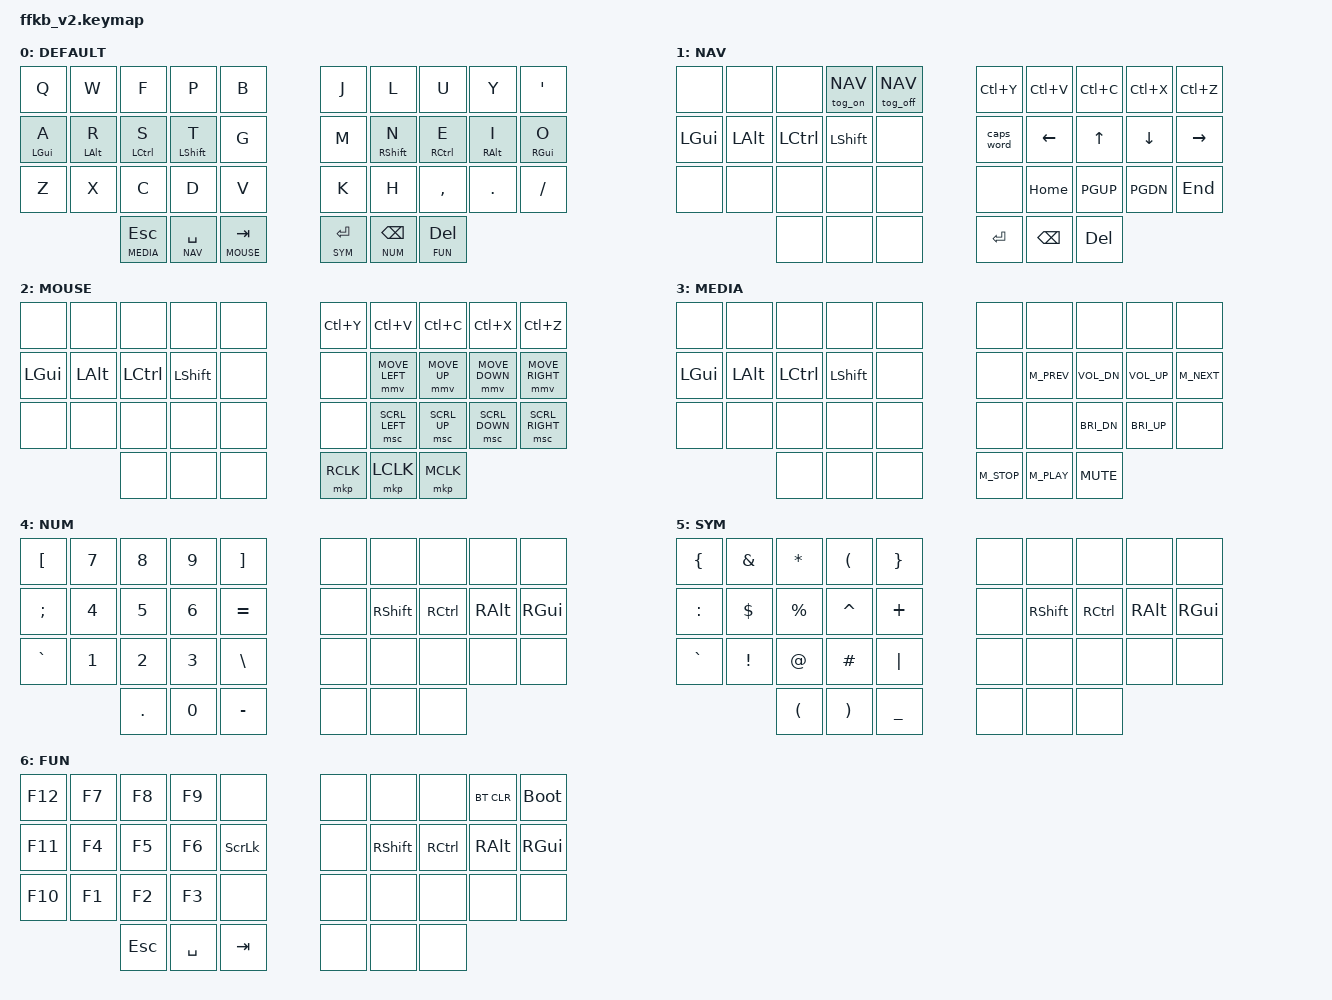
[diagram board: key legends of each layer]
/*
 * Copyright (c) 2020 The ZMK Contributors
 *
 * SPDX-License-Identifier: MIT
 */
/* This matrix overrides the base case of 3x6+3 to 3x5 + 3*/ 

  &default_transform {
      map = <
           RC(0,1) RC(0,2) RC(0,3) RC(0,4) RC(0,5)         RC(0,6) RC(0,7) RC(4,3) RC(3,4) RC(4,5)
           RC(1,1) RC(1,2) RC(1,3) RC(1,4) RC(1,5)         RC(1,6) RC(1,7) RC(3,2) RC(4,4) RC(3,5)
           RC(2,1) RC(2,2) RC(2,3) RC(2,4) RC(2,5)         RC(2,6) RC(2,7) RC(4,2) RC(3,3) RC(3,6)
                           RC(5,3) RC(5,4) RC(5,5)         RC(5,6) RC(5,7) RC(5,2)
      >;
  };


#define ZMK_POINTING_DEFAULT_MOVE_VAL 1500  // default: 600, This controls the speed of the mouse keys, not the cirque.
#define ZMK_POINTING_DEFAULT_SCRL_VAL 20    // default: 10


#include <behaviors.dtsi>
#include <dt-bindings/zmk/keys.h>
#include <dt-bindings/zmk/bt.h>
#include <dt-bindings/zmk/ext_power.h>
#include <dt-bindings/zmk/outputs.h>
#include <dt-bindings/zmk/mouse.h>
#include <behaviors/mouse_keys.dtsi>


#define DEFAULT 0
#define NAV     1
#define MOUSE   2
#define MEDIA   3
#define NUM     4
#define SYM     5
#define FUN     6


&caps_word {
    continue-list = <UNDERSCORE MINUS>;
};

/* Defines prefixes that can change behaviors of keys in the keymap*/ 
 / {
     behaviors {
         hm: homerow_mods {
             compatible = "zmk,behavior-hold-tap";
             #binding-cells = <2>;
             tapping-term-ms = <200>;
             flavor = "tap-preferred";
             bindings = <&kp>, <&kp>;
         };
         hs: homerow_shift {
             compatible = "zmk,behavior-hold-tap";
             #binding-cells = <2>;
             tapping-term-ms = <175>;
             flavor = "balanced";
             bindings = <&kp>, <&kp>;
         };
        tog_on: toggle_layer_on_only {
            compatible = "zmk,behavior-toggle-layer";
            #binding-cells = <1>;
            display-name = "Toggle Layer On";
            toggle-mode = "on";
            locking;
        };
        tog_off: toggle_layer_off_only {
            compatible = "zmk,behavior-toggle-layer";
            #binding-cells = <1>;
            display-name = "Toggle Layer Off";
            toggle-mode = "off";
            locking;
        };
     };
   };

/ { keymap {
        compatible = "zmk,keymap";

        DEFAULT {
        bindings = <
            &kp Q           &kp W           &kp F           &kp P           &kp B                &kp J           &kp L           &kp U           &kp Y           &kp QUOT
            &hm LGUI A      &hm LALT R      &hm LCTL S      &hs LSHIFT T    &kp G                &kp M           &hs RSHIFT N    &hm RCTL E      &hm RALT I      &hm RGUI O
            &kp Z           &kp X           &kp C           &kp D           &kp V                &kp K           &kp H           &kp COMMA       &kp DOT         &kp SLASH

                                            &lt MEDIA ESC   &lt NAV SPACE   &lt MOUSE TAB        &lt SYM ENTER   &lt NUM BSPC    &lt FUN DEL
        >;
    };

    NAV {
        bindings = <
            &none           &none           &none           &tog_on NAV           &tog_off NAV                &kp LC(Y)     &kp LC(V)     &kp LC(C)     &kp LC(X)        &kp LC(Z)
            &kp LGUI        &kp LALT        &kp LCTL        &kp LSHIFT      &none                &caps_word    &kp LEFT      &kp UP        &kp DOWN         &kp RIGHT
            &none           &none           &none           &none           &none                &none         &kp HOME      &kp PGUP      &kp PGDN         &kp END

                                            &none           &none           &none                &kp ENTER       &kp BSPC    &kp DEL
        >;
    };

    MOUSE {
        bindings = <
            &none           &none           &none           &none           &none          &kp LC(Y)       &kp LC(V)       &kp LC(C)       &kp LC(X)       &kp LC(Z)
            &kp LGUI        &kp LALT        &kp LCTL        &kp LSHIFT      &none          &none           &mmv MOVE_LEFT  &mmv MOVE_UP    &mmv MOVE_DOWN  &mmv MOVE_RIGHT
            &none           &none           &none           &none           &none          &none           &msc SCRL_LEFT           &msc SCRL_UP           &msc SCRL_DOWN           &msc SCRL_RIGHT

                                            &none           &none           &none          &mkp RCLK           &mkp LCLK           &mkp MCLK
        >;
    };

    MEDIA {
        bindings = <
            &none           &none           &none           &none           &none                &none           &none           &none           &none           &none
            &kp LGUI        &kp LALT        &kp LCTL        &kp LSHIFT      &none                &none           &kp M_PREV      &kp C_VOL_DN    &kp C_VOL_UP    &kp M_NEXT
            &none           &none           &none           &none           &none                &none           &none           &kp C_BRI_DN          &kp C_BRI_UP        &none

                                            &none           &none           &none                &kp M_STOP      &kp M_PLAY      &kp C_MUTE
        >;
    };


    NUM {
        bindings = <
            &kp LBKT        &kp N7         &kp N8         &kp N9         &kp RBKT                &none           &none           &none           &none           &none                
            &kp SCLN        &kp N4         &kp N5         &kp N6         &kp EQUAL               &none           &kp RSHIFT      &kp RCTL        &kp RALT        &kp RGUI                     
            &kp GRAVE       &kp N1         &kp N2         &kp N3         &kp BSLH                &none           &none           &none           &none           &none                

                                           &kp DOT        &kp N0         &kp MINUS               &none           &none           &none           
        >;

    };


    SYM {
        bindings = <
            &kp LBRC        &kp AMPS       &kp STAR       &kp LPAR       &kp RBRC                &none           &none           &none           &none           &none                
            &kp COLN        &kp DLLR       &kp PRCNT      &kp CARET      &kp PLUS                &none           &kp RSHIFT      &kp RCTL        &kp RALT        &kp RGUI                        
            &kp GRAVE       &kp EXCL       &kp AT         &kp HASH       &kp PIPE                &none           &none           &none           &none           &none                

                                           &kp LPAR       &kp RPAR   &kp UNDER                   &none           &none           &none
        >;
    };


    FUN {
        bindings = <
            &kp F12         &kp F7         &kp F8         &kp F9         &none                &none           &none           &none           &bt BT_CLR      &bootloader          
            &kp F11         &kp F4         &kp F5         &kp F6         &kp SLCK             &none           &kp RSHIFT      &kp RCTL     &kp RALT        &kp RGUI                        
            &kp F10         &kp F1         &kp F2         &kp F3         &none                &none           &none           &none           &none           &none                

                                           &kp ESC        &kp SPACE      &kp TAB              &none           &none           &none           
        >;

    };

};
};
